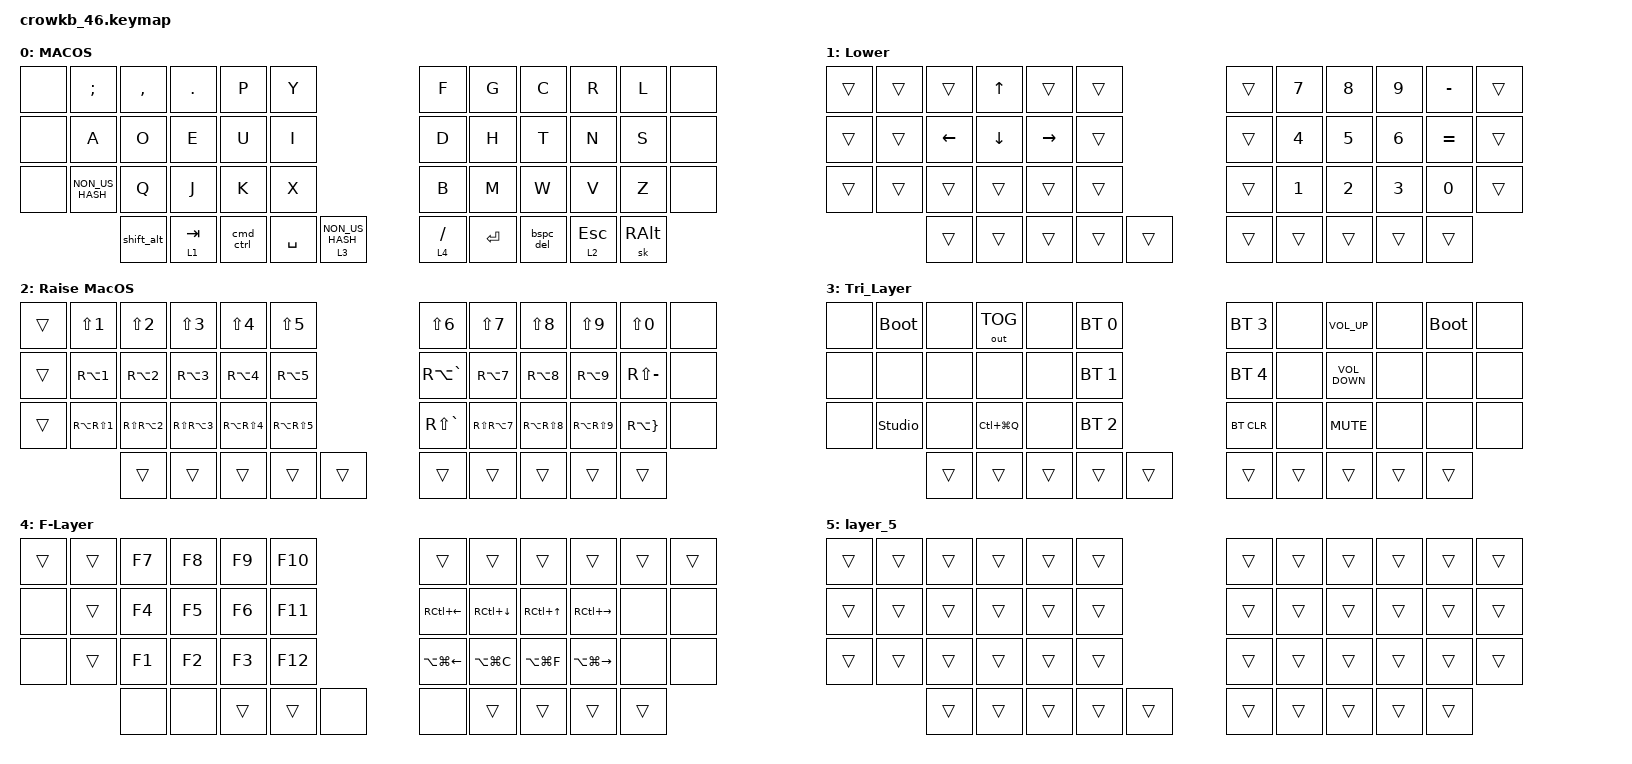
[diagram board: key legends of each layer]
/*
 * Copyright (c) 2020 The ZMK Contributors
 *
 * SPDX-License-Identifier: MIT
 */

#include <behaviors.dtsi>
#include <dt-bindings/zmk/bt.h>
#include <dt-bindings/zmk/keys.h>
#include <dt-bindings/zmk/outputs.h>

/ {
    combos {
        compatible = "zmk,combos";

        copy_mac {
            bindings = <&kp RG(C)>;
            key-positions = <26 27>;
            layers = <0>;
        };

        paste_mac {
            bindings = <&kp LG(V)>;
            key-positions = <28 27>;
            layers = <0>;
        };

        cut_mac {
            bindings = <&kp LG(X)>;
            key-positions = <26 28>;
        };

        undo_mac {
            bindings = <&kp LG(Z)>;
            key-positions = <25 26>;
        };

        enter {
            bindings = <&kp ENTER>;
            key-positions = <19 20 21>;
        };
    };

    behaviors {
        bspc_del: bspc_del {
            compatible = "zmk,behavior-mod-morph";
            label = "BSPC_DEL";
            bindings = <&kp BACKSPACE>, <&kp DEL>;

            #binding-cells = <0>;
            mods = <(MOD_LSFT|MOD_RSFT)>;
        };

        cmd_ctrl: cmd_ctrl {
            compatible = "zmk,behavior-tap-dance";
            label = "CMD_CTRL";
            #binding-cells = <0>;
            bindings = <&sk LGUI>, <&sk LCTRL>;

            tapping-term-ms = <500>;
        };

        shift_alt: shift_alt {
            compatible = "zmk,behavior-tap-dance";
            label = "SHIFT_ALT";
            #binding-cells = <0>;
            bindings = <&sk LGUI>, <&sk LCTRL>;

            tapping-term-ms = <500>;
        };
    };

    keymap {
        compatible = "zmk,keymap";

        MacOS {
            display-name = "MACOS";
            bindings = <
&none  &kp SEMI         &kp COMMA   &kp DOT    &kp P      &kp Y                         &kp F        &kp G    &kp C      &kp R      &kp L          &none
&none  &kp A            &kp O       &kp E      &kp U      &kp I                         &kp D        &kp H    &kp T      &kp N      &kp S          &none
&none  &kp NON_US_HASH  &kp Q       &kp J      &kp K      &kp X                         &kp B        &kp M    &kp W      &kp V      &kp Z          &none
                        &shift_alt  &lt 1 TAB  &cmd_ctrl  &kp SPACE  &lt 3 NON_US_HASH  &lt 4 SLASH  &kp RET  &bspc_del  &lt 2 ESC  &sk RIGHT_ALT
            >;
        };

        lower_layer {
            // -----------------------------------------------------------------------------------------
            // |  TAB |  1  |  2  |  3  |  4  |  5  |   |  6  |  7  |  8  |  9  |  0  | BKSP |
            // | BTCLR| BT1 | BT2 | BT3 | BT4 | BT5 |   | LFT | DWN |  UP | RGT |     |      |
            // | SHFT |     |     |     |     |     |   |     |     |     |     |     |      |
            //                    | GUI |     | SPC |   | ENT |     | ALT |

            display-name = "Lower";
            bindings = <
&trans  &trans  &trans          &kp UP_ARROW    &trans           &trans          &trans  &kp N7  &kp N8  &kp N9  &kp MINUS  &trans
&trans  &trans  &kp LEFT_ARROW  &kp DOWN_ARROW  &kp RIGHT_ARROW  &trans          &trans  &kp N4  &kp N5  &kp N6  &kp EQUAL  &trans
&trans  &trans  &trans          &trans          &trans           &trans          &trans  &kp N1  &kp N2  &kp N3  &kp N0     &trans
                &trans          &trans          &trans           &trans  &trans  &trans  &trans  &trans  &trans  &trans
            >;
        };

        raise_macOS {
            display-name = "Raise MacOS";
            bindings = <
&trans  &kp LS(NUMBER_1)      &kp LS(NUMBER_2)      &kp LS(NUMBER_3)  &kp LS(NUMBER_4)  &kp LS(N5)              &kp LS(NUMBER_6)  &kp LS(N7)      &kp LS(N8)      &kp LS(N9)      &kp LS(N0)           &none
&trans  &kp RA(NUMBER_1)      &kp RA(NUMBER_2)      &kp RA(NUMBER_3)  &kp RA(NUMBER_4)  &kp RA(N5)              &kp RA(GRAVE)     &kp RA(N7)      &kp RA(N8)      &kp RA(N9)      &kp RS(MINUS)        &none
&trans  &kp RA(RS(NUMBER_1))  &kp RS(RA(NUMBER_2))  &kp RS(RA(N3))    &kp RA(RS(N4))    &kp RA(RS(N5))          &kp RS(GRAVE)     &kp RS(RA(N7))  &kp RA(RS(N8))  &kp RA(RS(N9))  &kp RA(RIGHT_BRACE)  &none
                              &trans                &trans            &trans            &trans          &trans  &trans            &trans          &trans          &trans          &trans
            >;
        };

        tri_layer {
            bindings = <
&none  &bootloader     &none   &out OUT_TOG   &none   &bt BT_SEL 0          &bt BT_SEL 3  &none   &kp C_VOLUME_UP    &none   &bootloader  &none
&none  &none           &none   &none          &none   &bt BT_SEL 1          &bt BT_SEL 4  &none   &kp C_VOLUME_DOWN  &none   &none        &none
&none  &studio_unlock  &none   &kp LC(LG(Q))  &none   &bt BT_SEL 2          &bt BT_CLR    &none   &kp K_MUTE         &none   &none        &none
                       &trans  &trans         &trans  &trans        &trans  &trans        &trans  &trans             &trans  &trans
            >;

            label = "Tri_Layer";
        };

        F_layer {
            bindings = <
&trans  &trans  &kp F7  &kp F8  &kp F9  &kp F10         &trans              &trans         &trans            &trans             &trans  &trans
&none   &trans  &kp F4  &kp F5  &kp F6  &kp F11         &kp RC(LEFT_ARROW)  &kp RC(DOWN)   &kp RC(UP_ARROW)  &kp RC(RIGHT)      &none   &none
&none   &trans  &kp F1  &kp F2  &kp F3  &kp F12         &kp LA(LG(LEFT))    &kp LA(LG(C))  &kp LA(LG(F))     &kp LA(LG(RIGHT))  &none   &none
                &none   &none   &trans  &trans   &none  &none               &trans         &trans            &trans             &trans
            >;

            label = "F-Layer";
        };

        layer_5 {
            bindings = <
&trans  &trans  &trans  &trans  &trans  &trans          &trans  &trans  &trans  &trans  &trans  &trans
&trans  &trans  &trans  &trans  &trans  &trans          &trans  &trans  &trans  &trans  &trans  &trans
&trans  &trans  &trans  &trans  &trans  &trans          &trans  &trans  &trans  &trans  &trans  &trans
                &trans  &trans  &trans  &trans  &trans  &trans  &trans  &trans  &trans  &trans
            >;
        };
    };

    conditional_layers {
        compatible = "zmk,conditional-layers";

        game {
            if-layers = <3 4>;
            then-layer = <5>;
        };
    };
};
